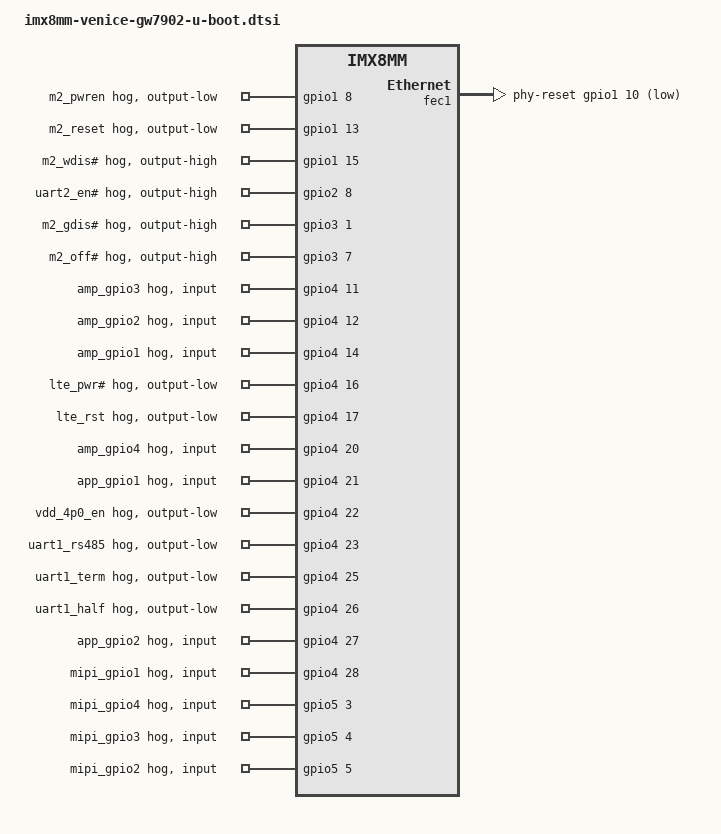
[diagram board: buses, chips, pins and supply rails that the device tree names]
// SPDX-License-Identifier: GPL-2.0+
/*
 * Copyright 2021 Gateworks Corporation
 */

#include "imx8mm-venice-u-boot.dtsi"

&gpio1 {
	m2pwren {
		gpio-hog;
		output-low;
		gpios = <8 GPIO_ACTIVE_HIGH>;
		line-name = "m2_pwren";
	};

	m2rst {
		gpio-hog;
		output-low;
		gpios = <13 GPIO_ACTIVE_HIGH>;
		line-name = "m2_reset";
	};

	m2wdis {
		gpio-hog;
		output-high;
		gpios = <15 GPIO_ACTIVE_HIGH>;
		line-name = "m2_wdis#";
	};
};

&gpio2 {
	uart2en {
		gpio-hog;
		output-high;
		gpios = <8 GPIO_ACTIVE_HIGH>;
		line-name = "uart2_en#";
	};
};

&gpio3 {
	m2gdis {
		gpio-hog;
		output-high;
		gpios = <1 GPIO_ACTIVE_HIGH>;
		line-name = "m2_gdis#";
	};

	m2off {
		gpio-hog;
		output-high;
		gpios = <7 GPIO_ACTIVE_HIGH>;
		line-name = "m2_off#";
	};
};

&gpio4 {
	ampgpio3 {
		gpio-hog;
		input;
		gpios = <11 GPIO_ACTIVE_HIGH>;
		line-name = "amp_gpio3";
	};

	ampgpio2 {
		gpio-hog;
		input;
		gpios = <12 GPIO_ACTIVE_HIGH>;
		line-name = "amp_gpio2";
	};

	ampgpio1 {
		gpio-hog;
		input;
		gpios = <14 GPIO_ACTIVE_HIGH>;
		line-name = "amp_gpio1";
	};

	ltrpwr {
		gpio-hog;
		output-low;
		gpios = <16 GPIO_ACTIVE_HIGH>;
		line-name = "lte_pwr#";
	};

	lterst {
		gpio-hog;
		output-low;
		gpios = <17 GPIO_ACTIVE_HIGH>;
		line-name = "lte_rst";
	};

	ampgpio4 {
		gpio-hog;
		input;
		gpios = <20 GPIO_ACTIVE_HIGH>;
		line-name = "amp_gpio4";
	};

	appgpio1 {
		gpio-hog;
		input;
		gpios = <21 GPIO_ACTIVE_HIGH>;
		line-name = "app_gpio1";
	};

	vdd4p0en {
		gpio-hog;
		output-low;
		gpios = <22 GPIO_ACTIVE_HIGH>;
		line-name = "vdd_4p0_en";
	};

	uart1rs485 {
		gpio-hog;
		output-low;
		gpios = <23 GPIO_ACTIVE_HIGH>;
		line-name = "uart1_rs485";
	};

	uart1term {
		gpio-hog;
		output-low;
		gpios = <25 GPIO_ACTIVE_HIGH>;
		line-name = "uart1_term";
	};

	uart1half {
		gpio-hog;
		output-low;
		gpios = <26 GPIO_ACTIVE_HIGH>;
		line-name = "uart1_half";
	};

	appgpio2 {
		gpio-hog;
		input;
		gpios = <27 GPIO_ACTIVE_HIGH>;
		line-name = "app_gpio2";
	};

	mipigpio1 {
		gpio-hog;
		input;
		gpios = <28 GPIO_ACTIVE_HIGH>;
		line-name = "mipi_gpio1";
	};
};

&gpio5 {
	mipigpio4 {
		gpio-hog;
		input;
		gpios = <3 GPIO_ACTIVE_HIGH>;
		line-name = "mipi_gpio4";
	};

	mipigpio3 {
		gpio-hog;
		input;
		gpios = <4 GPIO_ACTIVE_HIGH>;
		line-name = "mipi_gpio3";
	};

	mipigpio2 {
		gpio-hog;
		input;
		gpios = <5 GPIO_ACTIVE_HIGH>;
		line-name = "mipi_gpio2";
	};
};

&fec1 {
	phy-reset-gpios = <&gpio1 10 GPIO_ACTIVE_LOW>;
	phy-reset-duration = <1>;
	phy-reset-post-delay = <300>;
};

&pinctrl_fec1 {
	bootph-pre-ram;
};

&{/soc@0/bus@30800000/i2c@30a20000/pmic@4b} {
	bootph-pre-ram;
};

&{/soc@0/bus@30800000/i2c@30a20000/pmic@4b/regulators} {
	bootph-pre-ram;
};

&pinctrl_pmic {
	bootph-pre-ram;
};
